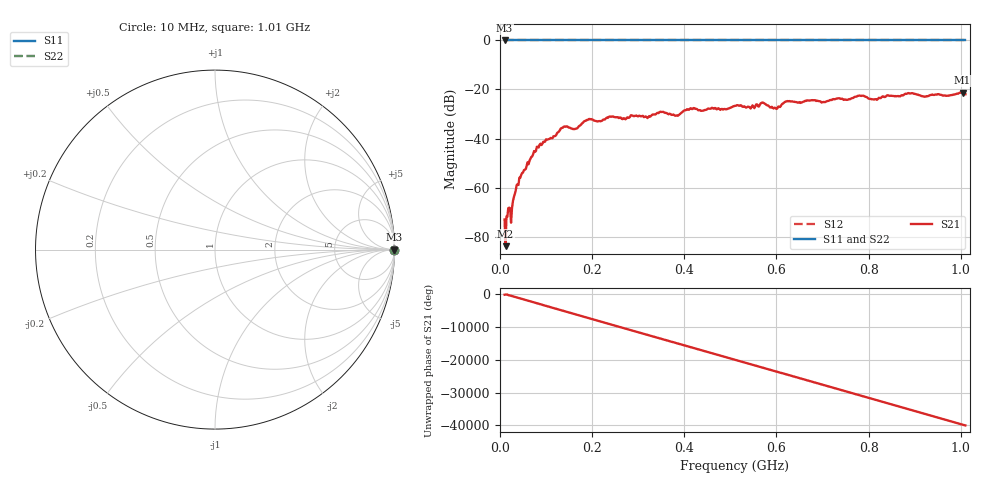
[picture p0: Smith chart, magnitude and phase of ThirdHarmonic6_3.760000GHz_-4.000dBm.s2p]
! 8/17/2025 12:54:54 PM
! C:\ANRITSUVNA\TEMP\TEMP.S2P
! CHANNEL.1
! TR.MEASUREMENT
! RAW.DATA
! RF.CORRECTION.OFF
! AVERAGING.OFF
! IF.BANDWIDTH: 5KHZ
! SWEEPTYPE:  FREQ.SWEEP(Linear)
! Reference Plane Port Info
! PORT:  PORT1  PORT2
! DISTANCE:  0  m  0  m
! TIME:  0  s  0  s
! PHASE.OFFSET:  0  deg.  0  deg.
! LOSS:  0  dB  0  dB
! REF.LOSS:  0  dB  0  dB
! REF.FREQ:  0  Hz  0  Hz
! Power Info
! POWER:  -20  dBm  -20  dBm
! EFF.POWER:  -20  dBm  -20  dBm
! SOURCE.ATTEN:  0  dB  0  dB
! TEST.ATTEN:  0  dB  0  dB
# GHZ S RI R 50.0
! FREQ.GHZ  S11RE  S11IM  S21RE  S21IM  S12RE  S12IM  S22RE  S22IM
!; PortSelection: Port_12
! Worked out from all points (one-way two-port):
!   501 points, 10 MHz to 1.01 GHz, reference 50 ohm
!   highest |S21| = -21.25 dB at 1.004 GHz (marker M1); lowest = -83.9 dB at 12 MHz (marker M2)
!   lowest |S11| = 0.0 dB at 10 MHz (marker M3)
!   |S11| at or under -10 dB: nowhere
!   |S22| runs from 0.0 to 0.0 dB; largest |S21 - S12| = 1.1
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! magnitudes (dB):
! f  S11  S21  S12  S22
! 10 MHz  0.0  -73.1  0.0  0.0
! 12 MHz  0.0  -83.9  0.0  0.0
! 18 MHz  0.0  -68.4  0.0  0.0
! 26 MHz  0.0  -68.5  0.0  0.0
! 34 MHz  0.0  -61.3  0.0  0.0
! 46 MHz  0.0  -54.8  0.0  0.0
! 84 MHz  0.0  -43.7  0.0  0.0
! 136 MHz  0.0  -35.6  0.0  0.0
! 164 MHz  0.0  -36.0  0.0  0.0
! 178 MHz  0.0  -33.8  0.0  0.0
! 194 MHz  0.0  -32.0  0.0  0.0
! 344 MHz  0.0  -29.6  0.0  0.0
! 384 MHz  0.0  -30.6  0.0  0.0
! 416 MHz  0.0  -28.0  0.0  0.0
! 510 MHz  0.0  -26.7  0.0  0.0
! 570 MHz  0.0  -25.3  0.0  0.0
! 598 MHz  0.0  -27.6  0.0  0.0
! 622 MHz  0.0  -24.9  0.0  0.0
! 678 MHz  0.0  -24.4  0.0  0.0
! 844 MHz  0.0  -22.5  0.0  0.0
! 1.004 GHz  0.0  -21.2  0.0  0.0
! 1.01 GHz  0.0  -21.9  0.0  0.0
